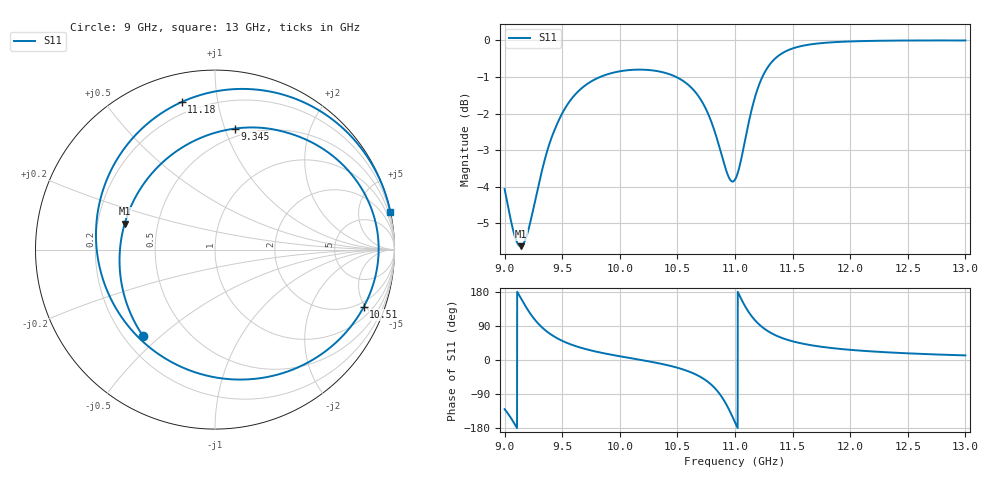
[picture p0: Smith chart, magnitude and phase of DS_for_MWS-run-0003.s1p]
! TOUCHSTONE file generated by CST DESIGN STUDIO
! Date and time: Tue Feb  4 18:08:12 2025
! Project name: C:\Work\MatlabApps\UnitCellOptimizationMatlab\CST\unitcell.cst
! Tree item: Tasks\Sweep1\SPara1\S-Parameters
! Header version: 2024
! Port assignment regex: !\s*Touchstone port\s*([0-9]+)\s*=\s*(CST MWS port|CST DES external port|CST DES block port)\s*(.+)\s* \(\"(.*)\"\)(\s*mode\s*([0-9]+))?.*
! Touchstone port assignment:
! Touchstone port 1 = CST DES external port 1 ("")
# GHz S MA R 50
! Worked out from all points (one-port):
!   4001 points, 9 GHz to 13 GHz, reference 50 ohm
!   lowest |S11| = -5.6 dB at 9.139 GHz (marker M1), VSWR 3.20, Z = 15.9 + j6.33 ohm
!   |S11| at or under -10 dB: nowhere
!   S11 on the Smith chart (normalised r, x): 9 GHz: 0.28, -0.44; 9.345 GHz: 0.43, +1.08; 10.51 GHz: 1.61, -4.86; 11.18 GHz: 0.14, +0.79; 13 GHz: 0.03, +9.43
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9  0.6265 -129.8
9.076  0.549 -163.1
9.139  0.5236 164.0
9.242  0.5816 114.4
9.345  0.6838 80.6
9.5  0.7948 50.6
9.708  0.8697 28.5
10  0.9071 9.9
10.279  0.9099 -5.1
10.5  0.8894 -20.4
10.508  0.888 -21.1
10.616  0.8631 -32.3
10.704  0.8293 -45.3
10.779  0.7853 -61.1
10.849  0.7289 -82.6
10.926  0.6623 -117.9
11  0.6453 -164.2
11.036  0.6695 172.2
11.073  0.7115 149.8
11.126  0.7811 123.3
11.18  0.8429 102.8
11.242  0.8942 85.4
11.325  0.9362 69.3
11.5  0.9746 49.3
11.704  0.9894 36.9
12  0.9964 26.8
12.5  0.9993 17.6
13  0.9994 12.1
